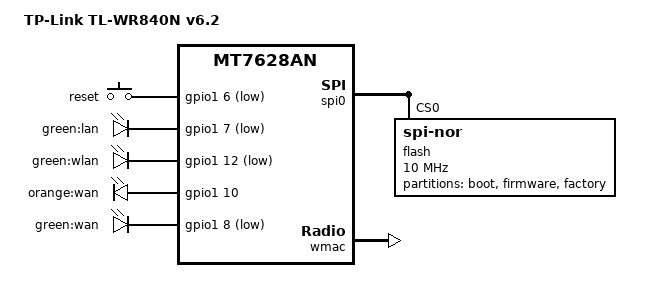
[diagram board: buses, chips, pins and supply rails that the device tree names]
/dts-v1/;

#include "mt7628an.dtsi"

#include <dt-bindings/gpio/gpio.h>
#include <dt-bindings/input/input.h>

/* GPIO leds from: https://github.com/milankragujevic/openwrt-wr840n-v620-old/blob/5075abed30740b9b930e7ef3da52d8f487bc4570/target/linux/ramips/dts/mt7628an_tplink_tl-wr840n-v6.dts */

/ {
	compatible = "tplink,tl-wr840n-v6.2", "mediatek,mt7628an-soc";
	model = "TP-Link TL-WR840N v6.2";

	aliases {
		led-boot = &led_power_orange;
        led-failsafe = &led_power_green;
        led-running = &led_power_green;
        led-upgrade = &led_power_orange;
	};

	chosen {
		bootargs = "console=ttyS0,115200";
	};

	keys {
		compatible = "gpio-keys";

		reset {
			label = "reset";
			gpios = <&gpio1 6 GPIO_ACTIVE_LOW>;
			linux,code = <KEY_RESTART>;
		};
	};

	/* LED used is dual-color,dual lead LED */
    leds {
        compatible = "gpio-leds";

        lan {
            label = "green:lan";
            gpios = <&gpio1 7 GPIO_ACTIVE_LOW>;
        };

        wlan {
            label = "green:wlan";
            gpios = <&gpio1 12 GPIO_ACTIVE_LOW>;
        };

		led_power_orange: wan {
			label = "orange:wan";
			gpios = <&gpio1 10 GPIO_ACTIVE_HIGH>;
		};

		led_power_green: power {
			label = "green:wan";
			gpios = <&gpio1 8 GPIO_ACTIVE_LOW>;
		};
    };
};

&spi0 {
	status = "okay";

	flash@0 {
		compatible = "jedec,spi-nor";
		reg = <0>;
		spi-max-frequency = <10000000>;

		partitions {
			compatible = "fixed-partitions";
			#address-cells = <1>;
			#size-cells = <1>;

			partition@0 {
				label = "boot";
				reg = <0x0 0x10000>;
				read-only;
			};

			partition@10000 {
				compatible = "tplink,firmware";
				label = "firmware";
				reg = <0x10000 0x3e0000>;
			};

			factory: partition@3f0000 {
				label = "factory";
				reg = <0x3f0000 0x10000>;
				read-only;
			};
		};
	};
};

&ehci {
	status = "disabled";
};

&ohci {
	status = "disabled";
};

&wmac {
	status = "okay";
	mtd-mac-address = <&factory 0xf100>;
};

&ethernet {
	mtd-mac-address = <&factory 0xf100>;
    mtd-mac-address-increment = <1>;
};

&esw {
    mediatek,portmap = <0x3e>;
};

&pinctrl {
	state_default: pinctrl0 {
		gpio {
			ralink,group = "p1led_an", "p3led_an", "p4led_an", "wled_an", "perst", "wdt";
			ralink,function = "gpio";
		};
	};
};
